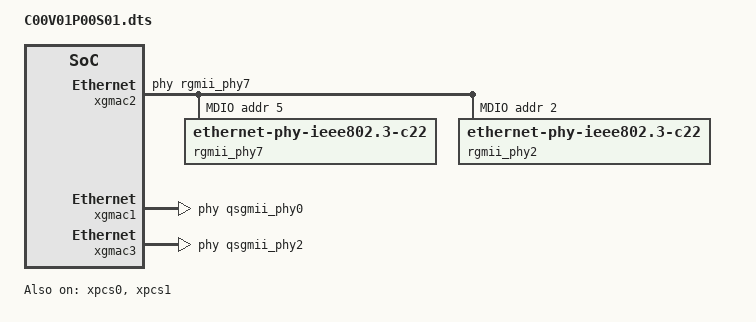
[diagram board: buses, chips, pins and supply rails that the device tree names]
/*C00.V01.P00.S01*/
//serde0 sfp
//serde1 QSGMII
//RGMII1
//RGMII2
/dts-v1/;
/plugin/;
/ {
	fragment@0 {
		target=<&xpcs0>;
		__overlay__ {
			phy-mode = "usxgmii";
			usxg_mode = <0>;
			status = "okay";
		};
	};

	fragment@1 {
		target=<&xpcs1>;
		__overlay__ {
			phy-mode = "qsgmii";
			status = "okay";
		};
	};

	fragment@2 {
		target=<&xgmac0>;
		__overlay__ {
			max-speed = <10000>;
		};
	};

	fragment@3 {
		target=<&xgmac2>;
		__overlay__ {
			mode = "rgmii";
			phy-handle = <&rgmii_phy7>;
			rgmii-rx-delay = <1>;
			mdio-flags = <1>;
			status = "okay";
			mdio{
				compatible = "clourney,mdio";
				#address-cells = <1>;
				#size-cells = <0>;
				device_type="mdio";
				status = "okay";
				rgmii_phy7: phy@7 {
					compatible = "ethernet-phy-ieee802.3-c22";
					reg = <0x5>;
				};
				rgmii_phy2: phy@2 {
					compatible = "ethernet-phy-ieee802.3-c22";
					reg = <0x2>;
				};
			};
		};
	};

	fragment@4  {
		target=<&xgmac1>;
		__overlay__ {
			mode = "non-rgmii";
			phy-handle = <&qsgmii_phy0>;
			status = "okay";
		};
	};

	fragment@5 {
		target = <&xgmac3>;
		__overlay__ {
			mode = "non-rgmii";
			phy-handle = <&qsgmii_phy2>;
			status = "okay";
		};
	};
};
